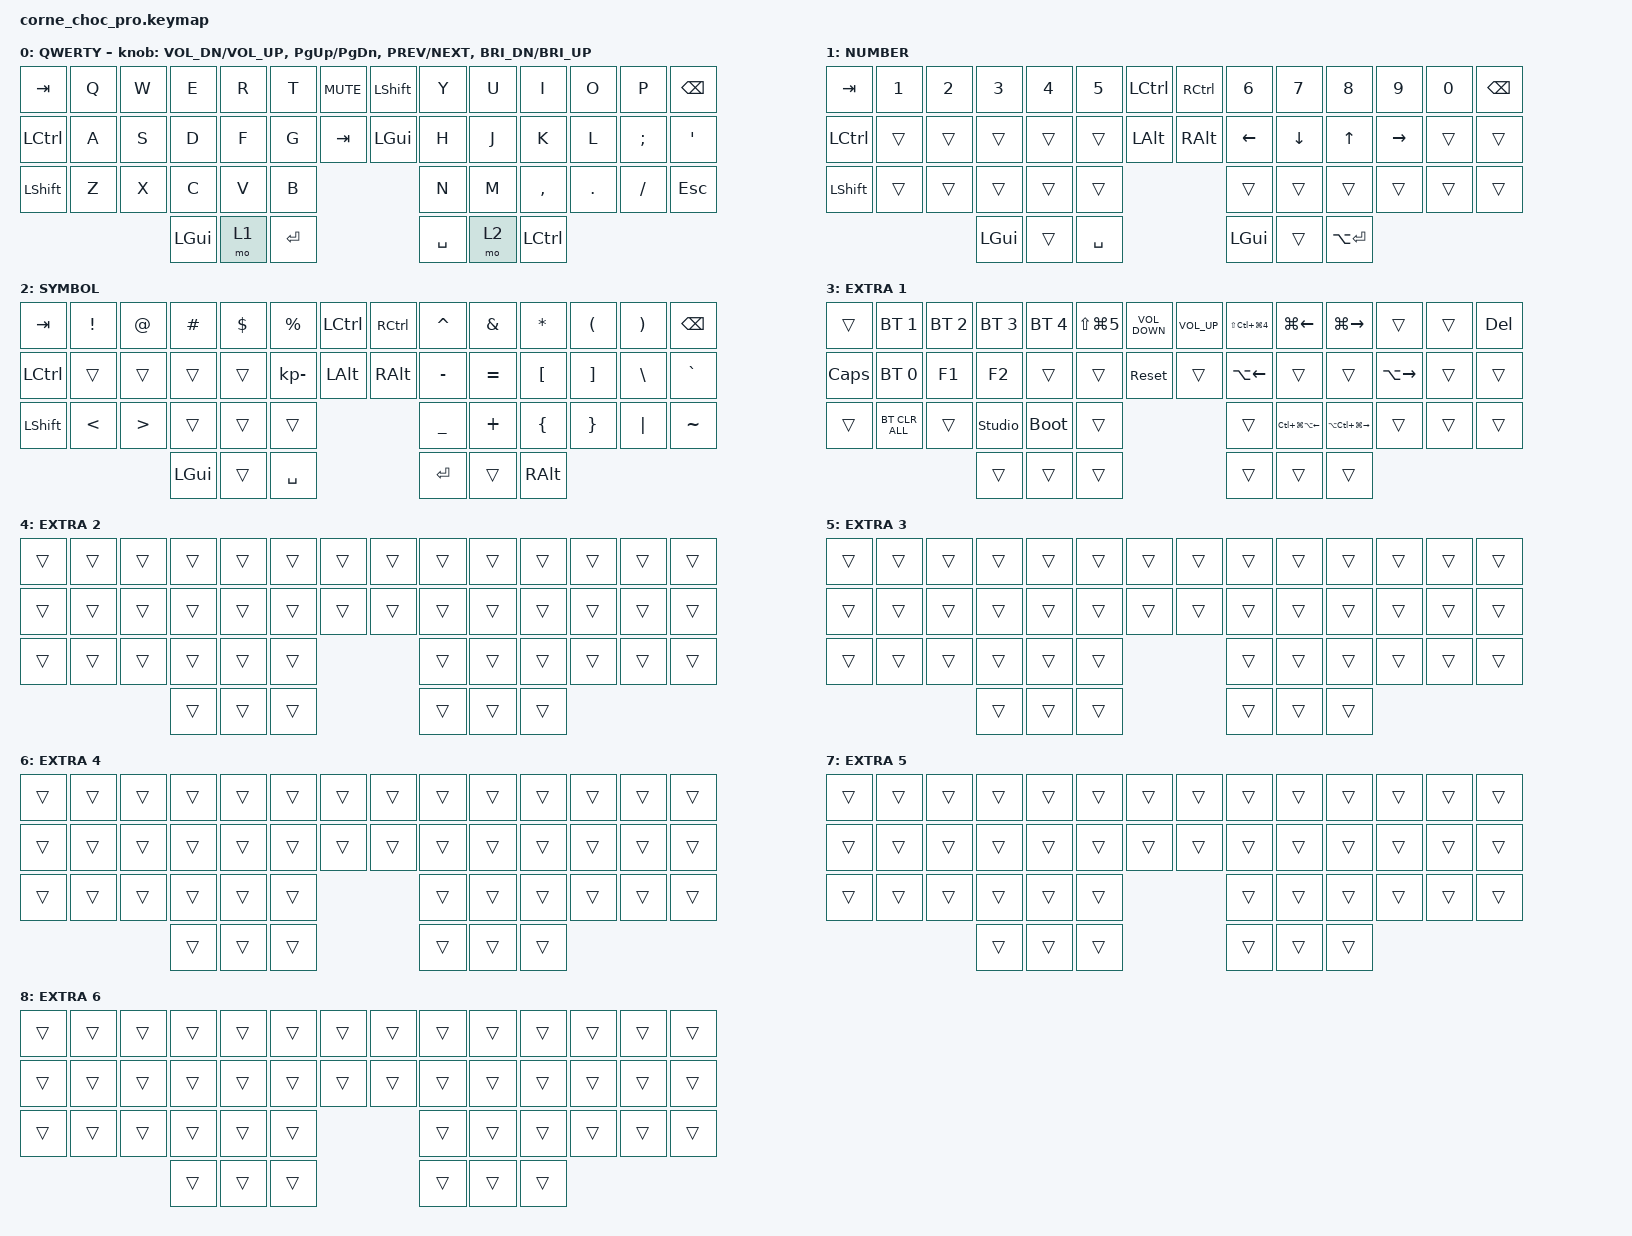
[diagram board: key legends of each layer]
/*
 * Copyright (c) 2020 The ZMK Contributors
 *
 * SPDX-License-Identifier: MIT
 */

#include <behaviors.dtsi>
#include <dt-bindings/zmk/bt.h>
#include <dt-bindings/zmk/keys.h>

/ {
    chosen { zmk,physical-layout = &default_layout; };
};

/ {
    combos {
        compatible = "zmk,combos";

        cirdash {
            bindings = <&kp RC(MINUS)>;
            key-positions = <22 23>;
        };

        alphabetswitch {
            bindings = <&kp CAPS>;
            key-positions = <19 18>;
        };
    };

    keymap {
        compatible = "zmk,keymap";

        default_layer {
            display-name = "QWERTY";

            // --------------------------------------------------------------------------------
            // |  TAB |  Q  |  W  |  E  |  R  |  T  |  MUTE |  PP   |  Y  |  U   |  I  |  O  |  P  | BSPC |
            // | CTRL |  A  |  S  |  D  |  F  |  G  |  LALT |  RALT |  H  |  J   |  K  |  L  |  ;  |  '   |
            // | SHFT |  Z  |  X  |  C  |  V  |  B  |               |  N  |  M   |  ,  |  .  |  /  | ESC  |
            //                    | GUI | LWR | SPC |               | ENT | RSE  | ALT |

            bindings = <
&kp TAB    &kp Q  &kp W  &kp E     &kp R  &kp T      &kp C_MUTE  &kp LSHIFT  &kp Y      &kp U  &kp I             &kp O    &kp P     &kp BSPC
&kp LCTRL  &kp A  &kp S  &kp D     &kp F  &kp G      &kp TAB     &kp LGUI    &kp H      &kp J  &kp K             &kp L    &kp SEMI  &kp SQT
&kp LSHFT  &kp Z  &kp X  &kp C     &kp V  &kp B                              &kp N      &kp M  &kp COMMA         &kp DOT  &kp FSLH  &kp ESC
                         &kp LGUI  &mo 1  &kp ENTER                          &kp SPACE  &mo 2  &kp LEFT_CONTROL
            >;

            sensor-bindings = <&inc_dec_kp C_VOL_DN C_VOL_UP &inc_dec_kp PG_UP PG_DN &inc_dec_kp C_PREV C_NEXT &inc_dec_kp C_BRI_DN C_BRI_UP>;
        };

        lower_layer {
            display-name = "NUMBER";

            // -----------------------------------------------------------------------------------------
            // |  TAB |  1  |  2  |  3  |  4  |  5    |  LCTRL | RCTRL |  6  |  7  |  8  |  9  |  0  | BSPC |
            // | CTRL | BT1 | BT2 | BT3 | BT4 | BT5   |  LALT  | RALT  | LFT | DWN |  UP | RGT |     |      |
            // | SHFT | BTCR| RGB | RST | BOOT| Unlock|        |       |     |     |     |     |     |      |
            //                    | GUI |     | SPC   |        | ENT   |     | ALT |

            bindings = <
&kp TAB    &kp N1  &kp N2  &kp N3    &kp N4  &kp N5     &kp LCTRL  &kp RCTRL  &kp N6    &kp N7    &kp N8         &kp N9     &kp N0  &kp BSPC
&kp LCTRL  &trans  &trans  &trans    &trans  &trans     &kp LALT   &kp RALT   &kp LEFT  &kp DOWN  &kp UP         &kp RIGHT  &trans  &trans
&kp LSHFT  &trans  &trans  &trans    &trans  &trans                           &trans    &trans    &trans         &trans     &trans  &trans
                           &kp LGUI  &trans  &kp SPACE                        &kp LGUI  &trans    &kp LA(ENTER)
            >;
        };

        raise_layer {
            display-name = "SYMBOL";

            // -----------------------------------------------------------------------------------------
            // |  TAB |  !  |  @  |  #  |  $  |  %  | LCTRL | RCTRL |  ^  |  &  |  *  |  (  |  )  | BSPC |
            // | CTRL |     |     |     |     |     |  LALT | RALT  |  -  |  =  |  [  |  ]  |  \  |  `   |
            // | SHFT |     |     |     |     |     |               |  _  |  +  |  {  |  }  | "|" |  ~   |
            //                    | GUI |     | SPC |               | ENT |     | ALT |

            bindings = <
&kp TAB    &kp EXCL       &kp AT            &kp HASH  &kp DLLR  &kp PRCNT        &kp LCTRL  &kp RCTRL  &kp CARET  &kp AMPS   &kp ASTRK  &kp LPAR  &kp RPAR  &kp BSPC
&kp LCTRL  &trans         &trans            &trans    &trans    &kp KP_SUBTRACT  &kp LALT   &kp RALT   &kp MINUS  &kp EQUAL  &kp LBKT   &kp RBKT  &kp BSLH  &kp GRAVE
&kp LSHFT  &kp LESS_THAN  &kp GREATER_THAN  &trans    &trans    &trans                                 &kp UNDER  &kp PLUS   &kp LBRC   &kp RBRC  &kp PIPE  &kp TILDE
                                            &kp LGUI  &trans    &kp SPACE                              &kp RET    &trans     &kp RALT
            >;
        };

        extra_layer_1 {
            display-name = "EXTRA 1";
            bindings = <
&trans    &bt BT_SEL 1    &bt BT_SEL 2  &bt BT_SEL 3    &bt BT_SEL 4  &kp LS(LG(N5))  &kp C_VOLUME_DOWN  &kp C_VOLUME_UP  &kp LS(LC(LG(N4)))  &kp LG(LEFT_ARROW)          &kp LG(RIGHT)          &trans         &trans  &kp DELETE
&kp CAPS  &bt BT_SEL 0    &kp F1        &kp F2          &trans        &trans          &sys_reset         &trans           &kp LA(LEFT_ARROW)  &trans                      &trans                 &kp LA(RIGHT)  &trans  &trans
&trans    &bt BT_CLR_ALL  &trans        &studio_unlock  &bootloader   &trans                                              &trans              &kp LC(LG(LA(LEFT_ARROW)))  &kp LA(LC(LG(RIGHT)))  &trans         &trans  &trans
                                        &trans          &trans        &trans                                              &trans              &trans                      &trans
            >;
        };

        extra_layer_2 {
            display-name = "EXTRA 2";
            bindings = <
&trans  &trans  &trans  &trans  &trans  &trans  &trans  &trans  &trans  &trans  &trans  &trans  &trans  &trans
&trans  &trans  &trans  &trans  &trans  &trans  &trans  &trans  &trans  &trans  &trans  &trans  &trans  &trans
&trans  &trans  &trans  &trans  &trans  &trans                  &trans  &trans  &trans  &trans  &trans  &trans
                        &trans  &trans  &trans                  &trans  &trans  &trans
            >;
        };

        extra_layer_3 {
            display-name = "EXTRA 3";
            bindings = <
&trans  &trans  &trans  &trans  &trans  &trans  &trans  &trans  &trans  &trans  &trans  &trans  &trans  &trans
&trans  &trans  &trans  &trans  &trans  &trans  &trans  &trans  &trans  &trans  &trans  &trans  &trans  &trans
&trans  &trans  &trans  &trans  &trans  &trans                  &trans  &trans  &trans  &trans  &trans  &trans
                        &trans  &trans  &trans                  &trans  &trans  &trans
            >;
        };

        extra_layer_4 {
            display-name = "EXTRA 4";
            bindings = <
&trans  &trans  &trans  &trans  &trans  &trans  &trans  &trans  &trans  &trans  &trans  &trans  &trans  &trans
&trans  &trans  &trans  &trans  &trans  &trans  &trans  &trans  &trans  &trans  &trans  &trans  &trans  &trans
&trans  &trans  &trans  &trans  &trans  &trans                  &trans  &trans  &trans  &trans  &trans  &trans
                        &trans  &trans  &trans                  &trans  &trans  &trans
            >;
        };

        extra_layer_5 {
            display-name = "EXTRA 5";
            bindings = <
&trans  &trans  &trans  &trans  &trans  &trans  &trans  &trans  &trans  &trans  &trans  &trans  &trans  &trans
&trans  &trans  &trans  &trans  &trans  &trans  &trans  &trans  &trans  &trans  &trans  &trans  &trans  &trans
&trans  &trans  &trans  &trans  &trans  &trans                  &trans  &trans  &trans  &trans  &trans  &trans
                        &trans  &trans  &trans                  &trans  &trans  &trans
            >;
        };

        extra_layer_6 {
            display-name = "EXTRA 6";
            bindings = <
&trans  &trans  &trans  &trans  &trans  &trans  &trans  &trans  &trans  &trans  &trans  &trans  &trans  &trans
&trans  &trans  &trans  &trans  &trans  &trans  &trans  &trans  &trans  &trans  &trans  &trans  &trans  &trans
&trans  &trans  &trans  &trans  &trans  &trans                  &trans  &trans  &trans  &trans  &trans  &trans
                        &trans  &trans  &trans                  &trans  &trans  &trans
            >;
        };
    };

    conditional_layers {
        compatible = "zmk,conditional-layers";

        activate_l3 {
            if-layers = <1 2>;
            then-layer = <3>;
        };
    };
};
